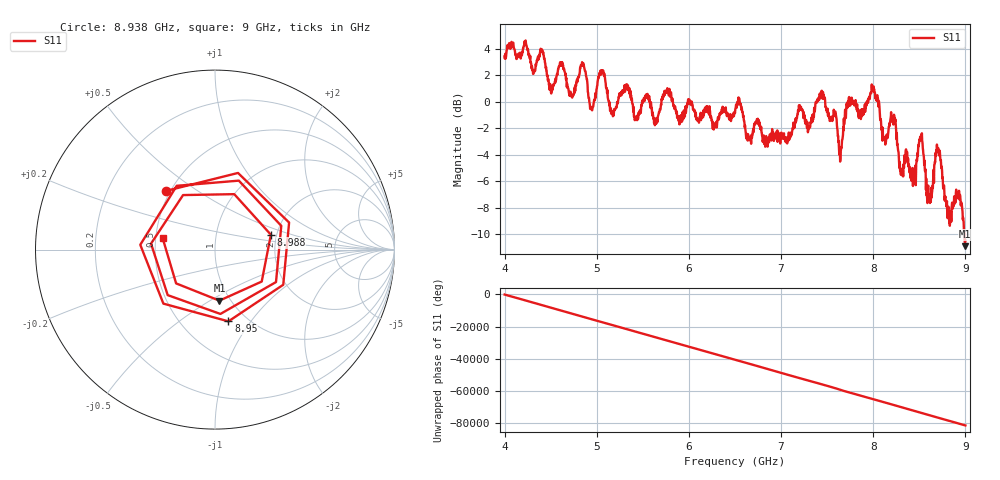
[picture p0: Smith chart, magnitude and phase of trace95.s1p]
! Created with skrf 1.8.0 (http://scikit-rf.org).
# Hz S RI R 50.0
!freq ReS11 ImS11
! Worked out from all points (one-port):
!   1601 points, 4 GHz to 9 GHz, reference 50 ohm
!   lowest |S11| = -10.9 dB at 8.994 GHz (marker M1), VSWR 1.80, Z = 44.5 - j27.6 ohm
!   |S11| at or under -10 dB: 8.990606 GHz to end of sweep
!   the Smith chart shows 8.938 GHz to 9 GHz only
!   S11 on the Smith chart (normalised r, x): 8.938 GHz: 0.47, +0.38; 8.95 GHz: 0.82, -0.79; 8.988 GHz: 1.86, +0.34; 9 GHz: 0.54, +0.08
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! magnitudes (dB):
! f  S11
! 4 GHz  3.4
! 4.625 GHz  3.0
! 4.728 GHz  0.4
! 4.853 GHz  2.9
! 4.944 GHz  -0.5
! 5.05 GHz  2.4
! 5.162 GHz  -0.7
! 5.25 GHz  0.6
! 5.875 GHz  -1.1
! 6.5 GHz  -0.9
! 7.125 GHz  -2.0
! 7.444 GHz  0.7
! 7.647 GHz  -3.8
! 7.75 GHz  -0.3
! 7.997 GHz  1.0
! 8.112 GHz  -2.6
! 8.216 GHz  -1.4
! 8.375 GHz  -4.6
! 8.438 GHz  -5.7
! 8.516 GHz  -2.8
! 8.609 GHz  -7.0
! 8.703 GHz  -3.5
! 8.822 GHz  -8.6
! 8.938 GHz  -7.4
! 8.95 GHz  -7.8
! 8.988 GHz  -9.8
! 8.994 GHz  -10.9
! 9 GHz  -10.5
